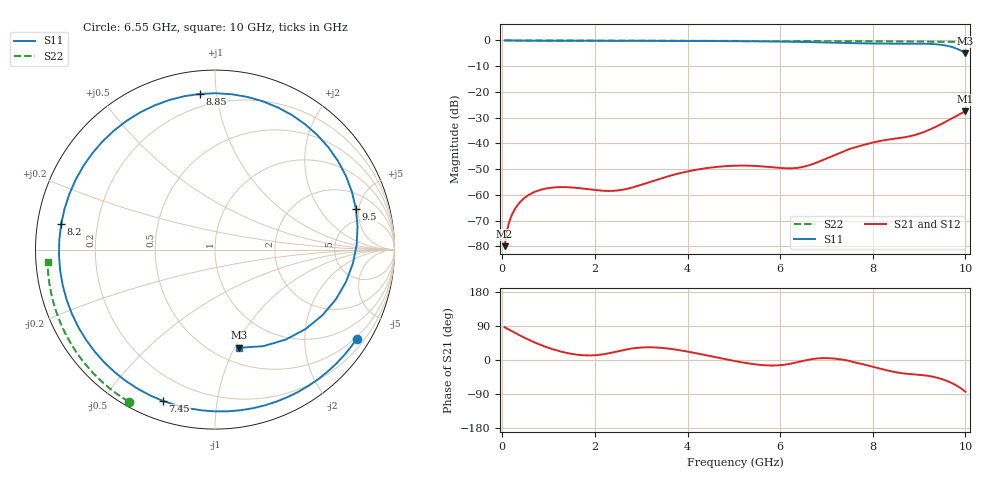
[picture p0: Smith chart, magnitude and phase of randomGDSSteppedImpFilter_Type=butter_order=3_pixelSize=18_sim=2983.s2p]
! freq	dB(S11)	phase(S11)	dB(S12)	phase(S12)
!  dB(S21)	phase(S21)	dB(S22)	phase(S22)
!S-par simulation data
#  GHz  S  DB  R 50
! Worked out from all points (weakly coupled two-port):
!   200 points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, 50 MHz to 10 GHz, reference 50 ohm
!   highest |S21| = -27.52 dB at 10 GHz (marker M1); lowest = -79.9 dB at 50 MHz (marker M2)
!   lowest |S11| = -5.0 dB at 10 GHz (marker M3), VSWR 3.58, Z = 32.5 - j52.1 ohm
!   |S11| at or under -10 dB: nowhere
!   |S22| runs from -0.6 to 0.0 dB; largest |S21 - S12| = 0
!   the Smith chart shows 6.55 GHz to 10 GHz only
!   S11 on the Smith chart (normalised r, x): 6.55 GHz: 0.45, -3.43; 7.45 GHz: 0.09, -0.71; 8.2 GHz: 0.07, +0.08; 8.85 GHz: 0.12, +0.90; 9.5 GHz: 3.39, +4.64; 10 GHz: 0.65, -1.04
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0.05  -0.00 -5.9  -79.93 86.5  -79.93 86.5  -0.00 -1.0
0.25  -0.05 -28.8  -66.20 73.2  -66.20 73.2  -0.01 -5.1
0.75  -0.09 -79.8  -58.48 43.7  -58.48 43.7  -0.02 -15.1
1.25  -0.11 -119.5  -56.99 22.8  -56.99 22.8  -0.03 -25.0
1.75  -0.12 -150.4  -57.55 12.6  -57.55 12.6  -0.04 -34.8
2.5  -0.13 172.6  -58.27 23.0  -58.27 23.0  -0.06 -49.2
3.4  -0.15 134.0  -53.74 32.4  -53.74 32.4  -0.09 -65.9
4.25  -0.20 97.4  -50.05 16.4  -50.05 16.4  -0.11 -81.1
5.05  -0.27 59.4  -48.65 -3.4  -48.65 -3.4  -0.15 -94.9
5.9  -0.41 11.9  -49.38 -14.4  -49.38 -14.4  -0.19 -109.0
6.55  -0.60 -32.1  -48.88 -0.8  -48.88 -0.8  -0.23 -119.6
6.7  -0.66 -43.4  -48.04 2.6  -48.04 2.6  -0.24 -122.0
7.1  -0.83 -76.5  -45.11 4.4  -45.11 4.4  -0.27 -128.5
7.45  -1.00 -109.0  -42.52 -1.2  -42.52 -1.2  -0.30 -134.1
7.85  -1.16 -150.3  -40.35 -13.0  -40.35 -13.0  -0.33 -140.5
8.2  -1.22 170.7  -38.92 -24.1  -38.92 -24.1  -0.36 -146.1
8.35  -1.22 153.5  -38.47 -28.6  -38.47 -28.6  -0.38 -148.5
8.85  -1.20 95.5  -37.02 -37.6  -37.02 -37.6  -0.43 -156.6
9.15  -1.28 60.3  -35.24 -41.0  -35.24 -41.0  -0.47 -161.5
9.5  -1.75 16.2  -32.29 -50.7  -32.29 -50.7  -0.51 -167.3
9.75  -2.75 -22.3  -29.87 -63.5  -29.87 -63.5  -0.55 -171.5
10  -4.99 -76.3  -27.52 -83.8  -27.52 -83.8  -0.58 -175.8
